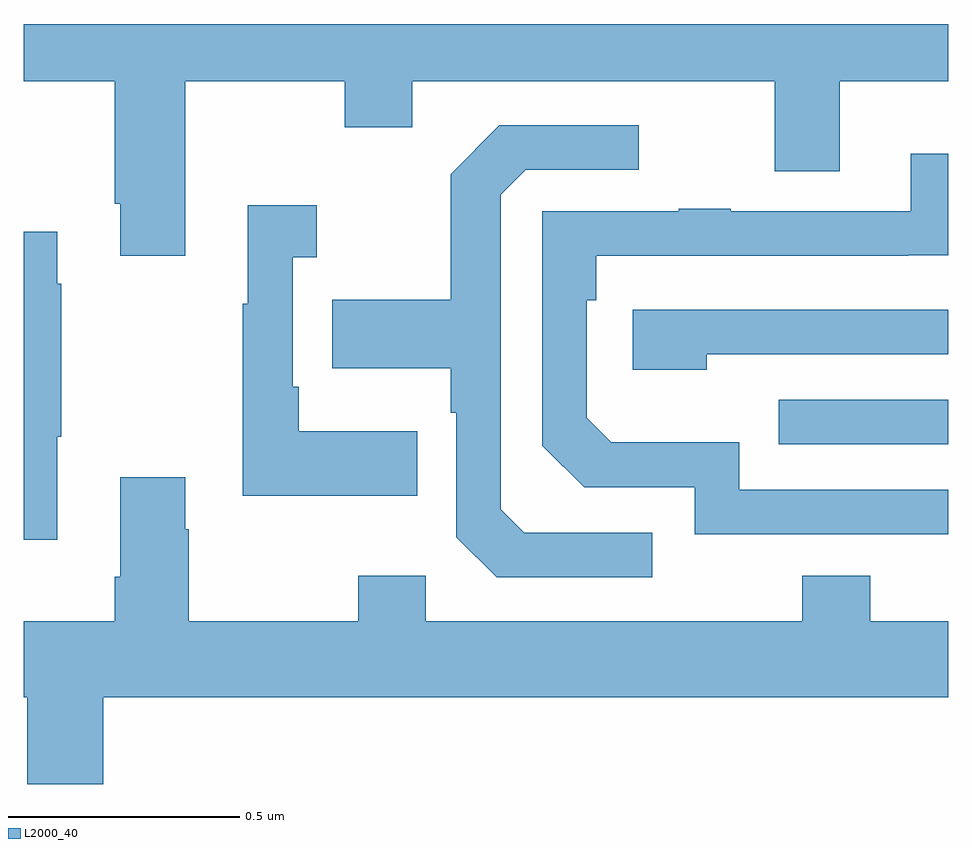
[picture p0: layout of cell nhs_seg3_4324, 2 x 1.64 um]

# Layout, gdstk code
import gdstk
lib = gdstk.Library(unit=1e-6, precision=1e-09)
def R(c, l, rs):  # rectangles x0, y0, x1, y1
    for r in rs: c.add(gdstk.rectangle(r[:2], r[2:], *l))
def P(c, l, *ps):  # polygons
    for p in ps: c.add(gdstk.Polygon(p, *l))
L2000_40 = (2000, 40)

nhs_seg3_4324 = lib.new_cell('nhs_seg3_4324')
R(nhs_seg3_4324, L2000_40, [(166.633,673.491,167,673.587)])
P(nhs_seg3_4324, L2000_40, [(165.349,674.276),(165.694,674.276),(165.694,674.177),(165.841,674.177),(165.841,674.276),(166.625,674.276),(166.625,674.082),(166.765,674.082),(166.765,674.276),(167,674.276),(167,674.4),(165,674.4),(165,674.276),(165.197,674.276),(165.197,674.011),(165.209,674.011),(165.209,673.899),(165.349,673.899)],
  [(166.36,673.299),(166.083,673.299),(166.032,673.35),(166.032,674.031),(166.086,674.085),(166.33,674.085),(166.33,674.181),(166.029,674.181),(165.924,674.075),(165.924,673.803),(165.667,673.803),(165.667,673.655),(165.924,673.655),(165.924,673.559),(165.936,673.559),(165.936,673.29),(166.023,673.203),(166.36,673.203)],
  [(167,673.392),(166.548,673.392),(166.548,673.495),(166.271,673.495),(166.218,673.548),(166.218,673.802),(166.238,673.802),(166.238,673.899),(166.913,673.899),(166.913,673.9),(167,673.9),(167,674.119),(166.919,674.119),(166.919,673.995),(166.529,673.995),(166.529,674),(166.417,674),(166.417,673.995),(166.122,673.995),(166.122,673.488),(166.212,673.398),(166.452,673.398),(166.452,673.296),(167,673.296)],
  [(165.851,673.519),(165.595,673.519),(165.595,673.615),(165.582,673.615),(165.582,673.895),(165.634,673.895),(165.634,674.008),(165.485,674.008),(165.485,673.795),(165.474,673.795),(165.474,673.379),(165.851,673.379)],
  [(165.073,673.507),(165.081,673.507),(165.081,673.838),(165.073,673.838),(165.073,673.951),(165,673.951),(165,673.284),(165.073,673.284)],
  [(166.478,673.686),(167,673.686),(167,673.782),(166.317,673.782),(166.317,673.652),(166.478,673.652)],
  [(165.172,672.944),(167,672.944),(167,673.108),(166.831,673.108),(166.831,673.207),(166.684,673.207),(166.684,673.108),(165.87,673.108),(165.87,673.207),(165.724,673.207),(165.724,673.108),(165.357,673.108),(165.357,673.307),(165.349,673.307),(165.349,673.42),(165.209,673.42),(165.209,673.204),(165.197,673.204),(165.197,673.108),(165,673.108),(165,672.944),(165.008,672.944),(165.008,672.756),(165.172,672.756)])

lib.write_gds('nhs_seg3_4324.gds')
